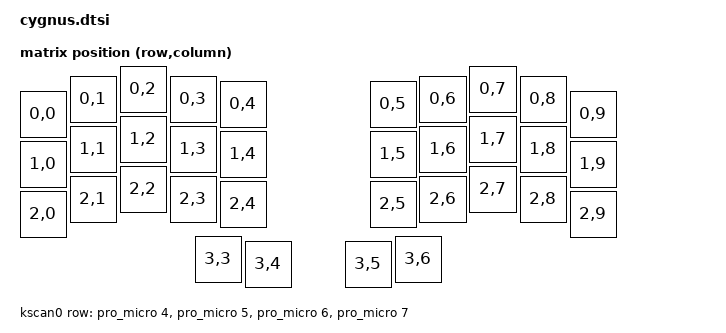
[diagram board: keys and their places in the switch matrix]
#include <dt-bindings/zmk/matrix_transform.h>
#include <physical_layouts.dtsi>

/ {
    chosen {
        zmk,kscan = &kscan0;
        zmk,physical-layout = &layout_cygnus_34;
    };

    /* Rows: Pro Micro pins 4, 5, 6, 7 (top row, home row, bottom row, thumbs).
     * Columns are set per half in the overlays. */
    kscan0: kscan_0 {
        compatible = "zmk,kscan-gpio-matrix";
        diode-direction = "col2row";
        wakeup-source;

        row-gpios
            = <&pro_micro 4 (GPIO_ACTIVE_HIGH | GPIO_PULL_DOWN)>
            , <&pro_micro 5 (GPIO_ACTIVE_HIGH | GPIO_PULL_DOWN)>
            , <&pro_micro 6 (GPIO_ACTIVE_HIGH | GPIO_PULL_DOWN)>
            , <&pro_micro 7 (GPIO_ACTIVE_HIGH | GPIO_PULL_DOWN)>
            ;
    };

    /* 34 keys: 3x5 per half + 2 thumbs per half */
    default_transform: matrix_transform {
        compatible = "zmk,matrix-transform";
        rows = <4>;
        columns = <10>;

        map = <
            RC(0,0) RC(0,1) RC(0,2) RC(0,3) RC(0,4)    RC(0,5) RC(0,6) RC(0,7) RC(0,8) RC(0,9)
            RC(1,0) RC(1,1) RC(1,2) RC(1,3) RC(1,4)    RC(1,5) RC(1,6) RC(1,7) RC(1,8) RC(1,9)
            RC(2,0) RC(2,1) RC(2,2) RC(2,3) RC(2,4)    RC(2,5) RC(2,6) RC(2,7) RC(2,8) RC(2,9)
                            RC(3,3) RC(3,4)    RC(3,5) RC(3,6)
        >;
    };

    layout_cygnus_34: layout_cygnus_34 {
        compatible = "zmk,physical-layout";
        display-name = "Cygnus 34-key";
        transform = <&default_transform>;
        kscan = <&kscan0>;

        /* <&key_physical_attrs width height x y rotation rx ry>, 1u = 100 */
        keys
            = <&key_physical_attrs 100 100    0  50 0 0 0>
            , <&key_physical_attrs 100 100  100  20 0 0 0>
            , <&key_physical_attrs 100 100  200   0 0 0 0>
            , <&key_physical_attrs 100 100  300  20 0 0 0>
            , <&key_physical_attrs 100 100  400  30 0 0 0>
            , <&key_physical_attrs 100 100  700  30 0 0 0>
            , <&key_physical_attrs 100 100  800  20 0 0 0>
            , <&key_physical_attrs 100 100  900   0 0 0 0>
            , <&key_physical_attrs 100 100 1000  20 0 0 0>
            , <&key_physical_attrs 100 100 1100  50 0 0 0>

            , <&key_physical_attrs 100 100    0 150 0 0 0>
            , <&key_physical_attrs 100 100  100 120 0 0 0>
            , <&key_physical_attrs 100 100  200 100 0 0 0>
            , <&key_physical_attrs 100 100  300 120 0 0 0>
            , <&key_physical_attrs 100 100  400 130 0 0 0>
            , <&key_physical_attrs 100 100  700 130 0 0 0>
            , <&key_physical_attrs 100 100  800 120 0 0 0>
            , <&key_physical_attrs 100 100  900 100 0 0 0>
            , <&key_physical_attrs 100 100 1000 120 0 0 0>
            , <&key_physical_attrs 100 100 1100 150 0 0 0>

            , <&key_physical_attrs 100 100    0 250 0 0 0>
            , <&key_physical_attrs 100 100  100 220 0 0 0>
            , <&key_physical_attrs 100 100  200 200 0 0 0>
            , <&key_physical_attrs 100 100  300 220 0 0 0>
            , <&key_physical_attrs 100 100  400 230 0 0 0>
            , <&key_physical_attrs 100 100  700 230 0 0 0>
            , <&key_physical_attrs 100 100  800 220 0 0 0>
            , <&key_physical_attrs 100 100  900 200 0 0 0>
            , <&key_physical_attrs 100 100 1000 220 0 0 0>
            , <&key_physical_attrs 100 100 1100 250 0 0 0>

            , <&key_physical_attrs 100 100  350 340 0 0 0>
            , <&key_physical_attrs 100 100  450 350 0 0 0>
            , <&key_physical_attrs 100 100  650 350 0 0 0>
            , <&key_physical_attrs 100 100  750 340 0 0 0>
            ;
    };
};
